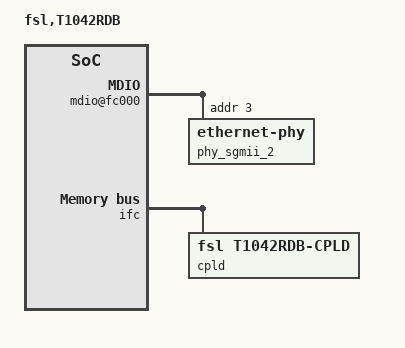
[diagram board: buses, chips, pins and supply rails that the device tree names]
/include/ "t104xsi-pre.dtsi"
/include/ "t104xrdb.dtsi"
/ {
	model = "fsl,T1042RDB";
	compatible = "fsl,T1042RDB";
	aliases {
		phy_sgmii_2 = &phy_sgmii_2;
	};
	soc@ffe000000 {
		fman@400000 {
			ethernet@e0000 {
			       status = "disabled";
			};
			ethernet@e2000 {
			       status = "disabled";
			};
			ethernet@e4000 {
				phy-handle = <&phy_sgmii_2>;
				phy-connection-type = "sgmii";
			};
			mdio@fc000 {
				phy_sgmii_2: ethernet-phy@3 {
					reg = <0x03>;
				};
			};
		};
	};
	ifc: localbus@ffe124000 {
		cpld@3,0 {
			compatible = "fsl,t1042rdb-cpld";
		};
	};
};
#include "t1042si-post.dtsi"
